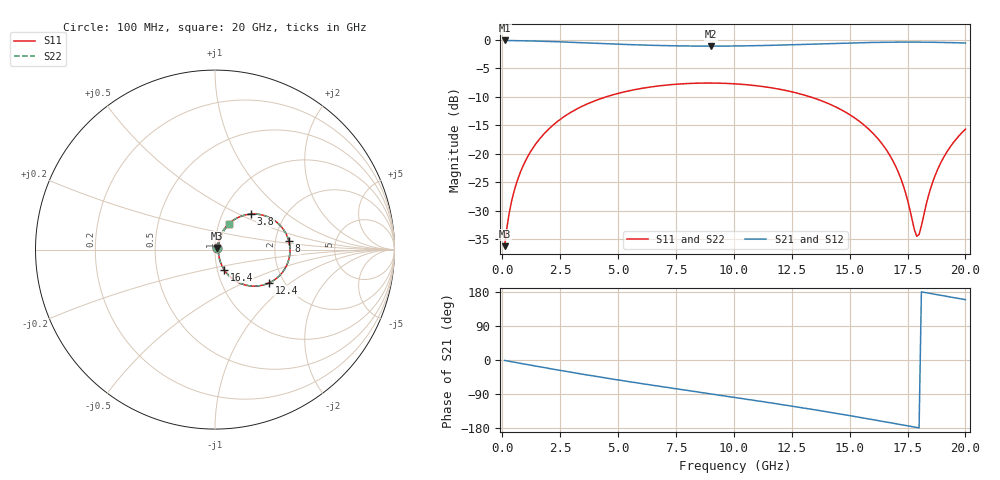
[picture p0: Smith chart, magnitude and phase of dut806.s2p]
! Touchstone file exported from HFSS 2026.1.0
!  File:  C:/ffzhzh/LocalFiles/Ansys_Project_Files/temp_train_TSV_RDL_806_1783263656_39728.aedt
!  Generated:  11:08:30 PM Jul  5, 2026
!  Design:  TSV_RDL
!  Project:  temp_train_TSV_RDL_806_1783263656_39728
! Variables:
!  h_bsmrdl = 5.01um
!  h_ox = 20um
!  h_rdl = 5um
!  h_sub = 66.98um
!  h_tmrdl = 5.55um
!  h_tsv = 66.98um
!  h_via = 3um
!  l_bsmrdl = 772.66um
!  l_sub = 3324.25um
!  l_tmrdl = 125.07um
!  m_sub = 200um
!  pitch = 38.94um
!  r_tsv = 11.88um
!  s_tmrdl = 10um
!  w_bsmrdl = 17.47um
!  w_sub = 500um
!  w_tmrdl = 17.86um
!  x_tsv_center1 = 134um
!  x_tsv_center2 = 924.13um
!  x_tsv_center3 = 1067.06um
!  x_tsv_center4 = 1857.19um
!  x_tsv_center5 = 2000.12um
!  x_tsv_center6 = 2790.25um
# GHz S MA R 50.000000
! Terminal data exported
! Port[1] = TM_RDL1_1_T1
! Port[2] = TM_RDL5_1_T1
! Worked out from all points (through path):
!   200 points, 100 MHz to 20 GHz, reference 50 ohm
!   highest |S21| = -0.11 dB at 100 MHz (marker M1); lowest = -1.1 dB at 9 GHz (marker M2)
!   group delay of S21, straight-line fit = 27.1 ps
!   lowest |S11| = -36.2 dB at 100 MHz (marker M3), VSWR 1.03, Z = 51.3 + j0.943 ohm
!   |S11| at or under -10 dB: start of sweep to 4.484 GHz; 13.3 GHz to end of sweep
!   |S22| runs from -36.2 to -7.6 dB; largest |S21 - S12| = 1.7e-14
!   S11 on the Smith chart (normalised r, x): 100 MHz: 1.03, +0.02; 3.8 GHz: 1.36, +0.58; 8 GHz: 2.37, +0.28; 12.4 GHz: 1.67, -0.71; 16.4 GHz: 1.08, -0.24; 20 GHz: 1.12, +0.33
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0.1  0.0155 36.4  0.9877 -1.2  0.9877 -1.2  0.0155 36.4
! Gamma 0 0 0 0
! Port Impedance 50 0 50 0
0.3  0.03036 60.1  0.9861 -3.5  0.9861 -3.5  0.03036 60.1
0.5  0.04631 66.2  0.9846 -5.7  0.9846 -5.7  0.04631 66.2
1.1  0.09477 68.0  0.9796 -12.3  0.9796 -12.3  0.09477 68.0
2.1  0.172 60.7  0.9668 -23.2  0.9668 -23.2  0.172 60.7
3.5  0.2644 47.5  0.9425 -37.8  0.9425 -37.8  0.2644 47.5
3.8  0.2814 44.7  0.937 -40.8  0.937 -40.8  0.2814 44.7
6.8  0.3954 17.3  0.8919 -69.5  0.8919 -69.5  0.3954 17.3
8  0.4138 6.8  0.8831 -80.4  0.8831 -80.4  0.4138 6.8
9  0.4179 -1.8  0.8808 -89.4  0.8808 -89.4  0.4179 -1.8
10.1  0.4106 -11.3  0.8834 -99.4  0.8834 -99.4  0.4106 -11.3
12.4  0.354 -31.6  0.904 -120.8  0.904 -120.8  0.3541 -31.6
13.4  0.3114 -40.6  0.9171 -130.5  0.9171 -130.5  0.3115 -40.6
15.1  0.2144 -55.9  0.9395 -147.8  0.9395 -147.8  0.2145 -55.8
16.4  0.1225 -65.6  0.9518 -161.7  0.9518 -161.7  0.1226 -65.4
16.7  0.09985 -66.7  0.9535 -164.9  0.9535 -164.9  0.09993 -66.5
17.3  0.0541 -63.6  0.9554 -171.4  0.9554 -171.4  0.05423 -63.3
17.9  0.01893 -7.4  0.9552 -178.0  0.9552 -178.0  0.01926 -7.3
18  0.01965 15.7  0.955 -179.1  0.955 -179.1  0.01996 15.4
18.4  0.04257 58.2  0.9533 176.5  0.9533 176.5  0.0427 57.8
18.8  0.0729 65.2  0.9507 172.2  0.9507 172.2  0.07296 65.0
20  0.1646 61.0  0.9377 159.2  0.9377 159.2  0.1647 60.9
